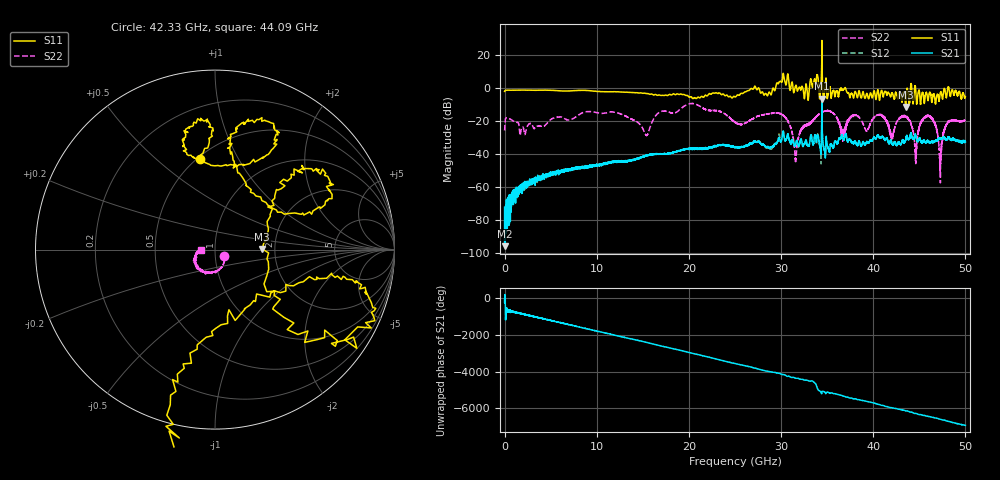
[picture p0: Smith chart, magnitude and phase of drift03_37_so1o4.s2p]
!Created with skrf (http://scikit-rf.org).
# Hz S RI R 50.0
!freq ReS11 ImS11 ReS21 ImS21 ReS12 ImS12 ReS22 ImS22
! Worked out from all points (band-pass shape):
!   10000 points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, 5.3 MHz to 50 GHz, reference 50 ohm
!   highest |S21| = -6.51 dB at 34.43 GHz (marker M1); lowest = -95.8 dB at 10.3 MHz (marker M2)
!   |S21| within 3 dB of the highest: 34.42751 GHz to 34.43548 GHz (7.968 MHz wide, 0.0231 % of centre)
!   lowest |S11| = -11.6 dB at 43.52 GHz (marker M3), VSWR 1.72, Z = 85.8 + j0.585 ohm
!   |S11| at or under -10 dB: 43.49765 GHz to 43.5438 GHz (46.15 MHz wide, 0.106 % of centre)
!   |S22| runs from -57.5 to -9.4 dB; largest |S21 - S12| = 0.12
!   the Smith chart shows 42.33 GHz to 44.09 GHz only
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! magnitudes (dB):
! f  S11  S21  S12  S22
! 5.3 MHz  -2.1  -72.2  -75.8  -25.8
! 10.3 MHz  -2.1  -95.8  -79.6  -25.3
! 2.7 GHz  -1.4  -56.8  -57.3  -21.7
! 8.34 GHz  -1.5  -47.8  -47.6  -15.3
! 12.47 GHz  -2.4  -44.2  -44.4  -15.5
! 15.39 GHz  -3.4  -40.9  -40.7  -28.8
! 16.67 GHz  -4.4  -40.0  -40.0  -15.3
! 20.45 GHz  -6.5  -36.7  -37.1  -9.5
! 25.01 GHz  -5.5  -35.8  -36.1  -20.9
! 29.95 GHz  3.9  -32.6  -32.1  -15.6
! 31.6 GHz  1.6  -33.7  -33.9  -43.8
! 33.34 GHz  2.7  -30.2  -30.3  -20.4
! 34.43 GHz  28.7  -6.5  -8.2  -14.5
! 36.71 GHz  -1.3  -30.4  -30.2  -28.4
! 37.94 GHz  -4.5  -33.0  -33.1  -16.8
! 41.67 GHz  -3.0  -33.4  -33.4  -22.4
! 43.52 GHz  -11.6  -31.2  -31.5  -17.4
! 44.61 GHz  -1.4  -28.9  -29.0  -43.4
! 46.22 GHz  -3.8  -33.3  -33.1  -17.5
! 47.29 GHz  -3.0  -30.7  -30.7  -57.5
! 48.1 GHz  -0.1  -30.5  -30.3  -20.7
! 50 GHz  -5.2  -32.8  -32.9  -19.6
